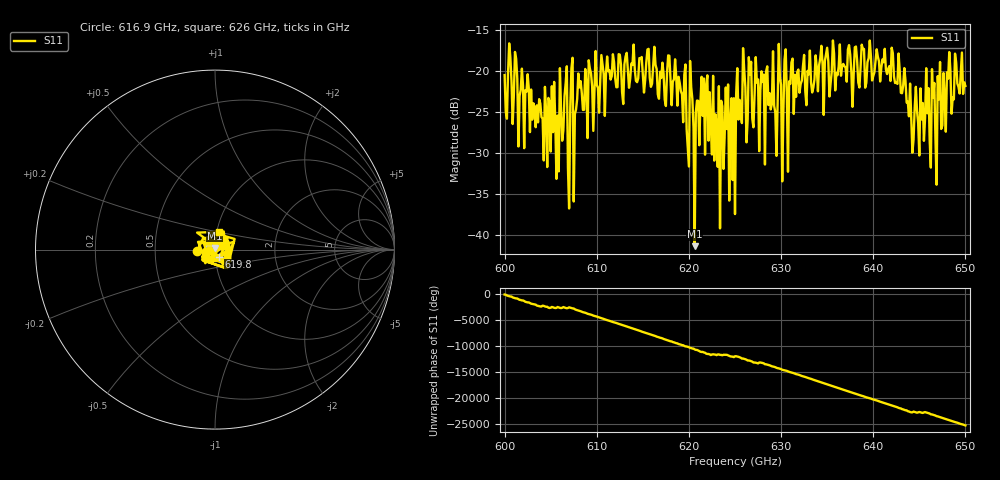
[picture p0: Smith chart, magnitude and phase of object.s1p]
!Created with skrf (http://scikit-rf.org).
# GHz S MA R 50.0
!freq magS11 angS11
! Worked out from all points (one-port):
!   401 points, 600 GHz to 650 GHz, reference 50 ohm
!   lowest |S11| = -41.4 dB at 620.6 GHz (marker M1), VSWR 1.02, Z = 49.9 + j0.848 ohm
!   |S11| at or under -10 dB: start of sweep to end of sweep
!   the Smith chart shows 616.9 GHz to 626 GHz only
!   S11 on the Smith chart (normalised r, x): 616.9 GHz: 0.82, -0.02; 619.8 GHz: 1.04, -0.08; 626 GHz: 1.03, +0.21
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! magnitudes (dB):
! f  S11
! 600 GHz  -20.5
! 600.5 GHz  -16.6
! 605.6 GHz  -33.2
! 606.2 GHz  -28.5
! 607.2 GHz  -19.7
! 608.1 GHz  -22.0
! 612.5 GHz  -18.0
! 616.9 GHz  -20.1
! 618.8 GHz  -24.2
! 619.8 GHz  -27.1
! 620.2 GHz  -22.0
! 620.6 GHz  -41.4
! 621.8 GHz  -30.2
! 623.6 GHz  -24.3
! 623.8 GHz  -32.0
! 625 GHz  -37.5
! 625.4 GHz  -25.9
! 626 GHz  -19.9
! 629.4 GHz  -25.1
! 631.2 GHz  -18.5
! 637.5 GHz  -18.0
! 641.9 GHz  -21.2
! 643.8 GHz  -23.8
! 644.1 GHz  -25.9
! 645.2 GHz  -25.9
! 647.6 GHz  -20.3
! 648.2 GHz  -17.7
! 650 GHz  -21.8
